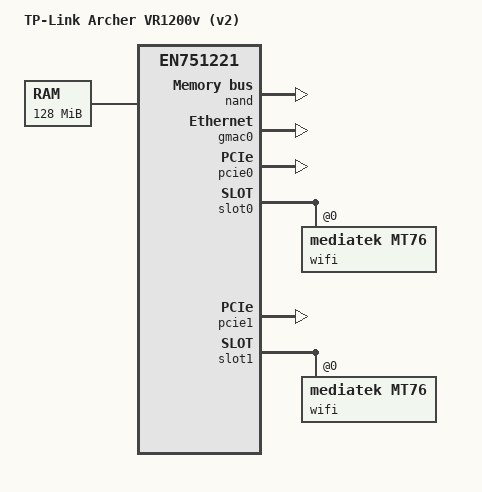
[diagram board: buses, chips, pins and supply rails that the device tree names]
// SPDX-License-Identifier: (GPL-2.0-only OR BSD-2-Clause)
/dts-v1/;

#include "en751221.dtsi"

/ {
	model = "TP-Link Archer VR1200v (v2)";
	compatible = "tplink,archer-vr1200v-v2", "econet,en751221";

	memory@0 {
		device_type = "memory";
		reg = <0x00000000 0x8000000>;
	};

	chosen {
		stdout-path = "/serial@1fbf0000:115200";
		linux,usable-memory-range = <0x00020000 0x07fe0000>;
	};
};

&nand {
	status = "okay";
	econet,bmt;

	partitions {
		compatible = "fixed-partitions";
		#address-cells = <1>;
		#size-cells = <1>;

		partition@0 {
			label = "bootloader";
			reg = <0x0 0x80000>;
			read-only;
		};

		partition@80000 {
			label = "misc";
			reg = <0x80000 0x140000>;
			nvmem-layout {
				compatible = "fixed-layout";
				#address-cells = <1>;
				#size-cells = <1>;

				eeprom_misc_80000: eeprom@80000 {
					/* MT7592 */
					reg = <0x80000 0x200>;
				};

				eeprom_misc_a0000: eeprom@a0000 {
					/* MT7613BE */
					reg = <0xa0000 0x600>;
				};

				macaddr_misc_8f100: macaddr@8f100 {
					compatible = "mac-base";
					reg = <0x4f100 0x6>;
					#nvmem-cell-cells = <1>;
				};
			};
		};

		partition@1c0000 {
			label = "tclinux";
			reg = <0x1c0000 0x1e40000>;
			econet,enable-remap;
		};

		partition@5c0000 {
			label = "rootfs";
			reg = <0x5c0000 0x1a40000>;
			linux,rootfs;
		};

		partition@2000000 {
			label = "firmware_factory";
			reg = <0x2000000 0x1e40000>;
		};

		partition@3e40000 {
			label = "unused";
			reg = <0x3e40000 0x1a0000>;
		};

		partition@3fe0000 {
			label = "reserve";
			reg = <0x3fe0000 0x20000>;
		};

		partition@4000000 {
			label = "openwrt_ubi";
			/* From the factory this is unallocated space, so it's ours for the taking.
			 * We have up to 0x35e0000 of space, but we reserve 10 eraseblocks (1.25MB)
			 * in case the BMT steals them from us.
			 */
			reg = <0x4000000 0x34a0000>;
		};
	};
};

&gmac0 {
	status = "okay";
	nvmem-cells = <&macaddr_misc_8f100 0>;
	nvmem-cell-names = "mac-address";
};

&pcie0 {
	status = "okay";
};
&slot0 {
	wifi@0,0 {
		/* MT7592 */
		compatible = "mediatek,mt76";
		reg = <0x0000 0 0 0 0>;
		nvmem-cells = <&eeprom_misc_80000>, <&macaddr_misc_8f100 1>;
		nvmem-cell-names = "eeprom", "mac-address";
	};
};
&pcie1 {
	status = "okay";
};
&slot1 {
	wifi@0,0 {
		/* MT7613BE */
		compatible = "mediatek,mt76";
		reg = <0x0000 0 0 0 0>;
		nvmem-cells = <&eeprom_misc_a0000>, <&macaddr_misc_8f100 2>;
		nvmem-cell-names = "eeprom", "mac-address";
	};
};
